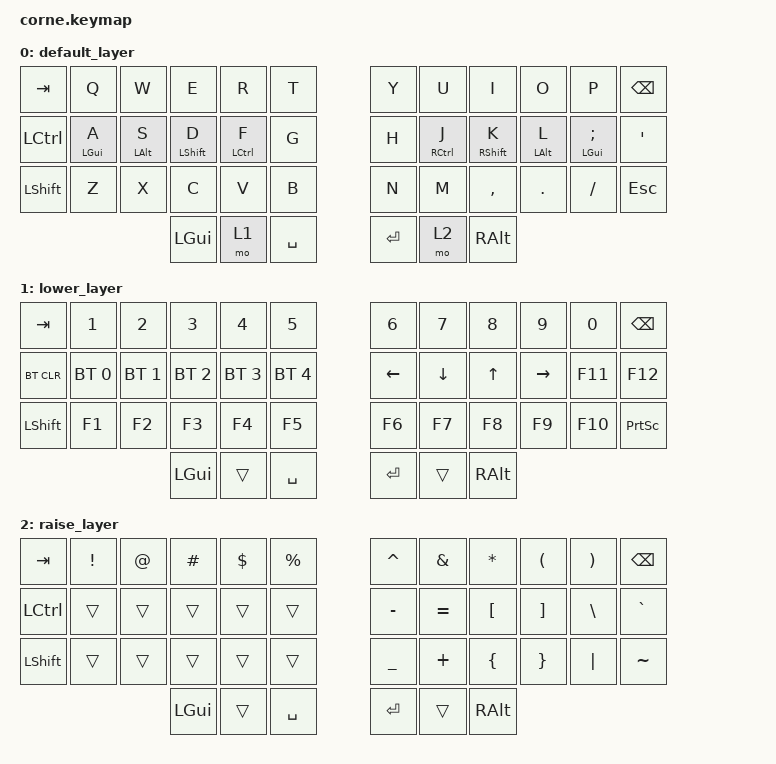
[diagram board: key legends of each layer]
/*
 * Copyright (c) 2020 The ZMK Contributors
 *
 * SPDX-License-Identifier: MIT
 */

#include <behaviors.dtsi>
#include <dt-bindings/zmk/bt.h>
#include <dt-bindings/zmk/keys.h>

/ {
    combos {
        compatible = "zmk,combos";

        f1 {
            bindings = <&kp F1>;
            key-positions = <1 13>;
            require-prior-idle-ms = <100>;
        };

        f2 {
            bindings = <&kp F2>;
            key-positions = <2 14>;
            require-prior-idle-ms = <100>;
        };

        f3 {
            bindings = <&kp F3>;
            key-positions = <3 15>;
            require-prior-idle-ms = <100>;
        };

        f4 {
            bindings = <&kp F4>;
            key-positions = <4 16>;
            require-prior-idle-ms = <100>;
        };

        f5 {
            bindings = <&kp F5>;
            key-positions = <17 5>;
            require-prior-idle-ms = <100>;
        };

        f6 {
            bindings = <&kp F6>;
            key-positions = <18 6>;
            require-prior-idle-ms = <100>;
        };

        f7 {
            bindings = <&kp F7>;
            key-positions = <7 19>;
            require-prior-idle-ms = <100>;
        };

        f8 {
            bindings = <&kp F8>;
            key-positions = <20 8>;
            require-prior-idle-ms = <100>;
        };

        f9 {
            bindings = <&kp F9>;
            key-positions = <9 21>;
            require-prior-idle-ms = <100>;
        };

        f10 {
            bindings = <&kp F10>;
            key-positions = <10 22>;
            require-prior-idle-ms = <100>;
        };

        f11 {
            bindings = <&kp F11>;
            key-positions = <1 25>;
            require-prior-idle-ms = <100>;
        };

        f12 {
            bindings = <&kp F12>;
            key-positions = <26 2>;
            require-prior-idle-ms = <100>;
        };

        tab {
            bindings = <&kp TAB>;
            key-positions = <1 2>;
            require-prior-idle-ms = <100>;
        };

        left {
            bindings = <&kp LEFT>;
            key-positions = <19 20>;
            require-prior-idle-ms = <100>;
        };

        up {
            bindings = <&kp UP>;
            key-positions = <7 8>;
            require-prior-idle-ms = <100>;
        };

        down {
            bindings = <&kp DOWN>;
            key-positions = <31 32>;
            require-prior-idle-ms = <100>;
        };

        right {
            bindings = <&kp RIGHT>;
            key-positions = <21 22>;
            require-prior-idle-ms = <100>;
        };

        home {
            bindings = <&kp HOME>;
            key-positions = <19 18>;
            require-prior-idle-ms = <100>;
        };

        end {
            bindings = <&kp END>;
            key-positions = <22 23>;
            require-prior-idle-ms = <100>;
        };

        del {
            bindings = <&kp DEL>;
            key-positions = <10 11>;
            require-prior-idle-ms = <100>;
        };
    };

    behaviors {
        hr: hr {
            compatible = "zmk,behavior-hold-tap";
            label = "HR";
            bindings = <&kp>, <&kp>;

            #binding-cells = <2>;
            tapping-term-ms = <200>;
            quick-tap-ms = <130>;
            flavor = "tap-preferred";
        };
    };

    keymap {
        compatible = "zmk,keymap";

        default_layer {
            // -----------------------------------------------------------------------------------------
            // |  TAB |  Q  |  W  |  E  |  R  |  T  |   |  Y  |  U   |  I  |  O  |  P  | BSPC |
            // | CTRL |  A  |  S  |  D  |  F  |  G  |   |  H  |  J   |  K  |  L  |  ;  |  '   |
            // | SHFT |  Z  |  X  |  C  |  V  |  B  |   |  N  |  M   |  ,  |  .  |  /  | ESC  |
            //                    | GUI | LWR | SPC |   | ENT | RSE  | ALT |

            bindings = <
&kp TAB    &kp Q           &kp W           &kp E             &kp R        &kp T        &kp Y    &kp U        &kp I              &kp O           &kp P                   &kp BSPC
&kp LCTRL  &hr LEFT_GUI A  &hr LEFT_ALT S  &hr LEFT_SHIFT D  &hr LCTRL F  &kp G        &kp H    &hr RCTRL J  &hr RIGHT_SHIFT K  &hr LEFT_ALT L  &hr LEFT_GUI SEMICOLON  &kp SQT
&kp LSHFT  &kp Z           &kp X           &kp C             &kp V        &kp B        &kp N    &kp M        &kp COMMA          &kp DOT         &kp FSLH                &kp ESC
                                           &kp LGUI          &mo 1        &kp SPACE    &kp RET  &mo 2        &kp RALT
            >;
        };

        lower_layer {
            // -----------------------------------------------------------------------------------------
            // |  TAB |  1  |  2  |  3  |  4  |  5  |   |  6  |  7  |  8  |  9  |  0  | BSPC |
            // | BTCLR| BT1 | BT2 | BT3 | BT4 | BT5 |   | LFT | DWN |  UP | RGT |     |      |
            // | SHFT |     |     |     |     |     |   |     |     |     |     |     |      |
            //                    | GUI |     | SPC |   | ENT |     | ALT |

            bindings = <
&kp TAB     &kp N1        &kp N2        &kp N3        &kp N4        &kp N5          &kp N6    &kp N7    &kp N8    &kp N9     &kp N0   &kp BSPC
&bt BT_CLR  &bt BT_SEL 0  &bt BT_SEL 1  &bt BT_SEL 2  &bt BT_SEL 3  &bt BT_SEL 4    &kp LEFT  &kp DOWN  &kp UP    &kp RIGHT  &kp F11  &kp F12
&kp LSHFT   &kp F1        &kp F2        &kp F3        &kp F4        &kp F5          &kp F6    &kp F7    &kp F8    &kp F9     &kp F10  &kp PRINTSCREEN
                                        &kp LGUI      &trans        &kp SPACE       &kp RET   &trans    &kp RALT
            >;
        };

        raise_layer {
            // -----------------------------------------------------------------------------------------
            // |  TAB |  !  |  @  |  #  |  $  |  %  |   |  ^  |  &  |  *  |  (  |  )  | BSPC |
            // | CTRL |     |     |     |     |     |   |  -  |  =  |  [  |  ]  |  \  |  `   |
            // | SHFT |     |     |     |     |     |   |  _  |  +  |  {  |  }  | "|" |  ~   |
            //                    | GUI |     | SPC |   | ENT |     | ALT |

            bindings = <
&kp TAB    &kp EXCL  &kp AT  &kp HASH  &kp DLLR  &kp PRCNT    &kp CARET  &kp AMPS   &kp ASTRK  &kp LPAR  &kp RPAR  &kp BSPC
&kp LCTRL  &trans    &trans  &trans    &trans    &trans       &kp MINUS  &kp EQUAL  &kp LBKT   &kp RBKT  &kp BSLH  &kp GRAVE
&kp LSHFT  &trans    &trans  &trans    &trans    &trans       &kp UNDER  &kp PLUS   &kp LBRC   &kp RBRC  &kp PIPE  &kp TILDE
                             &kp LGUI  &trans    &kp SPACE    &kp RET    &trans     &kp RALT
            >;
        };
    };
};
